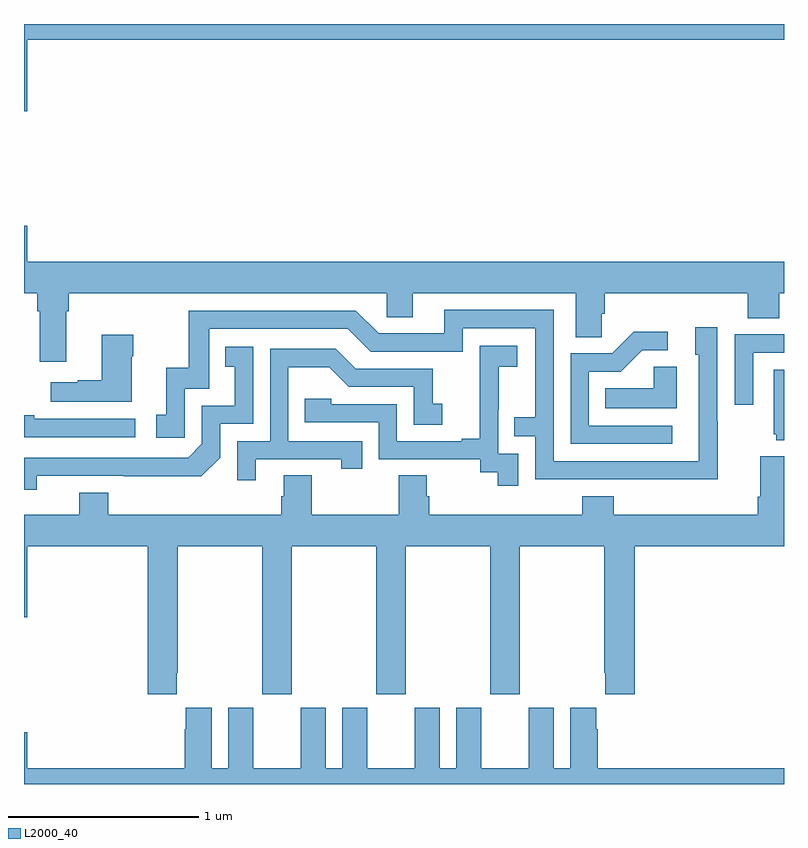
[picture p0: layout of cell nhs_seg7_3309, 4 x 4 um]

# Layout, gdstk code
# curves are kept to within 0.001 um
import gdstk
lib = gdstk.Library(unit=1e-6, precision=1e-09)
def P(c, l, *ps):  # polygons
    for p in ps: c.add(gdstk.Polygon(p, *l))
L2000_40 = (2000, 40)

nhs_seg7_3309 = lib.new_cell('nhs_seg7_3309')
P(nhs_seg7_3309, L2000_40, [(321.016,1033.916),(325,1033.916),(325,1034),(321,1034),(321,1033.542),(321.016,1033.542)],
  [(321.016,1032.937),(321,1032.937),(321,1032.584),(321.071,1032.584),(321.071,1032.488),(321.083,1032.488),(321.083,1032.222),(321.223,1032.222),(321.223,1032.488),(321.236,1032.488),(321.236,1032.584),(322.908,1032.584),(322.908,1032.457),(323.047,1032.457),(323.047,1032.584),(323.903,1032.584),(323.903,1032.352),(324.042,1032.352),(324.042,1032.475),(324.056,1032.475),(324.056,1032.584),(324.809,1032.584),(324.809,1032.451),(324.974,1032.451),(324.974,1032.584),(325,1032.584),(325,1032.748),(321.016,1032.748)],
  [(324.651,1031.909),(324.648,1031.909),(324.648,1032.403),(324.533,1032.403),(324.533,1032.258),(324.552,1032.258),(324.552,1031.7),(323.787,1031.7),(323.787,1032.495),(323.213,1032.495),(323.213,1032.372),(322.866,1032.372),(322.746,1032.492),(321.867,1032.492),(321.867,1032.19),(321.749,1032.19),(321.749,1031.943),(321.696,1031.943),(321.696,1031.823),(321.846,1031.823),(321.846,1032.081),(321.975,1032.081),(321.975,1032.396),(322.704,1032.396),(322.824,1032.276),(323.31,1032.276),(323.31,1032.399),(323.691,1032.399),(323.691,1031.93),(323.581,1031.93),(323.581,1031.829),(323.691,1031.829),(323.691,1031.604),(324.651,1031.603)],
  [(324.412,1031.886),(323.973,1031.886),(323.973,1032.171),(324.142,1032.171),(324.253,1032.282),(324.388,1032.282),(324.388,1032.38),(324.209,1032.38),(324.096,1032.267),(323.877,1032.267),(323.877,1031.79),(324.412,1031.79)],
  [(324.837,1032.27),(325,1032.27),(325,1032.366),(324.741,1032.366),(324.741,1031.997),(324.837,1031.997)],
  [(321.568,1032.251),(321.576,1032.251),(321.576,1032.364),(321.41,1032.364),(321.41,1032.125),(321.284,1032.125),(321.284,1032.115),(321.141,1032.115),(321.141,1032.011),(321.568,1032.011)],
  [(323.601,1031.739),(323.496,1031.739),(323.496,1031.969),(323.498,1031.969),(323.498,1032.197),(323.596,1032.197),(323.596,1032.307),(323.398,1032.307),(323.398,1032.101),(323.399,1032.101),(323.399,1031.818),(323.303,1031.818),(323.303,1031.805),(322.962,1031.805),(322.962,1032),(322.617,1032),(322.617,1032.027),(322.477,1032.027),(322.477,1031.904),(322.866,1031.904),(322.866,1031.709),(323.4,1031.709),(323.4,1031.641),(323.493,1031.641),(323.493,1031.571),(323.601,1031.571)],
  [(321.066,1031.622),(321.934,1031.621),(322.032,1031.718),(322.032,1031.895),(322.206,1031.895),(322.206,1032.301),(322.06,1032.301),(322.06,1032.195),(322.109,1032.195),(322.109,1031.991),(321.936,1031.991),(321.936,1031.79),(321.864,1031.718),(321,1031.718),(321,1031.549),(321.066,1031.549)],
  [(322.219,1031.709),(322.67,1031.709),(322.67,1031.658),(322.781,1031.658),(322.781,1031.805),(322.392,1031.805),(322.392,1032.194),(322.606,1032.194),(322.71,1032.09),(323.052,1032.09),(323.052,1031.892),(323.2,1031.892),(323.2,1032.001),(323.151,1032.001),(323.151,1032.186),(322.747,1032.186),(322.642,1032.291),(322.296,1032.291),(322.296,1031.805),(322.122,1031.805),(322.122,1031.598),(322.219,1031.598)],
  [(324.436,1032.197),(324.315,1032.197),(324.315,1032.082),(324.058,1032.082),(324.058,1031.978),(324.436,1031.978)],
  [(325,1032.181),(324.947,1032.181),(324.947,1031.841),(324.959,1031.841),(324.959,1031.81),(325,1031.81)],
  [(321.586,1031.922),(321.053,1031.922),(321.053,1031.942),(321,1031.942),(321,1031.826),(321.586,1031.826)],
  [(321.29,1031.533),(321.29,1031.416),(321,1031.416),(321,1030.878),(321.016,1030.878),(321.016,1031.252),(321.65,1031.252),(321.65,1030.473),(321.805,1030.473),(321.805,1030.585),(321.81,1030.585),(321.81,1031.252),(322.255,1031.252),(322.255,1030.473),(322.41,1030.473),(322.41,1031.252),(322.855,1031.252),(322.855,1030.473),(323.01,1030.473),(323.01,1031.252),(323.455,1031.252),(323.455,1030.473),(323.61,1030.473),(323.61,1031.252),(324.055,1031.252),(324.055,1030.585),(324.059,1030.585),(324.059,1030.473),(324.215,1030.473),(324.215,1031.252),(325,1031.252),(325,1031.725),(324.875,1031.725),(324.875,1031.512),(324.863,1031.512),(324.863,1031.416),(324.104,1031.416),(324.104,1031.515),(323.939,1031.515),(323.939,1031.416),(323.132,1031.416),(323.132,1031.514),(323.119,1031.514),(323.119,1031.624),(322.972,1031.624),(322.972,1031.416),(322.515,1031.416),(322.515,1031.624),(322.367,1031.624),(322.367,1031.514),(322.355,1031.514),(322.355,1031.416),(321.443,1031.416),(321.443,1031.533)],
  [(325,1030.084),(324.02,1030.084),(324.02,1030.289),(324.013,1030.289),(324.013,1030.402),(323.876,1030.402),(323.876,1030.084),(323.788,1030.084),(323.788,1030.402),(323.657,1030.402),(323.657,1030.084),(323.407,1030.084),(323.407,1030.402),(323.276,1030.402),(323.276,1030.084),(323.188,1030.084),(323.188,1030.402),(323.057,1030.402),(323.057,1030.084),(322.807,1030.084),(322.807,1030.402),(322.676,1030.402),(322.676,1030.084),(322.588,1030.084),(322.588,1030.402),(322.457,1030.402),(322.457,1030.084),(322.207,1030.084),(322.207,1030.402),(322.076,1030.402),(322.076,1030.084),(321.988,1030.084),(321.988,1030.402),(321.851,1030.402),(321.851,1030.289),(321.845,1030.289),(321.845,1030.084),(321.016,1030.084),(321.016,1030.273),(321,1030.273),(321,1030),(325,1030)])

lib.write_gds('nhs_seg7_3309.gds')
